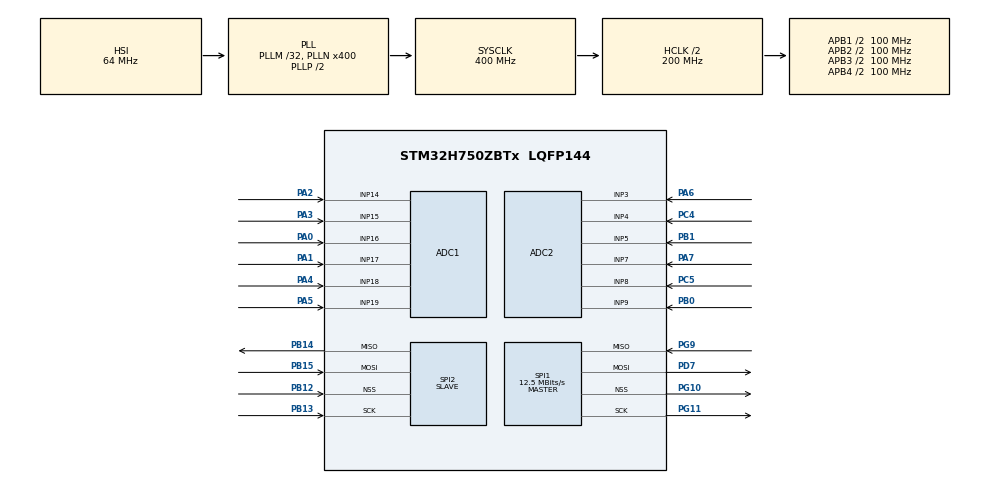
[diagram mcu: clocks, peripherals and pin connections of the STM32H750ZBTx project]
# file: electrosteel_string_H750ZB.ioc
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ADC1.Channel-0\#ChannelRegularConversion=ADC_CHANNEL_16
ADC1.Channel-1\#ChannelRegularConversion=ADC_CHANNEL_17
ADC1.Channel-2\#ChannelRegularConversion=ADC_CHANNEL_14
ADC1.Channel-3\#ChannelRegularConversion=ADC_CHANNEL_15
ADC1.Channel-4\#ChannelRegularConversion=ADC_CHANNEL_18
ADC1.Channel-5\#ChannelRegularConversion=ADC_CHANNEL_19
ADC1.ContinuousConvMode=DISABLE
ADC1.EOCSelection=ADC_EOC_SEQ_CONV
ADC1.ExternalTrigConv=ADC_EXTERNALTRIG_HR1_ADCTRG1
ADC1.ExternalTrigConvEdge=ADC_EXTERNALTRIGCONVEDGE_RISING
ADC1.NbrOfConversion=6
ADC1.NbrOfConversionFlag=1
ADC1.OffsetNumber-0\#ChannelRegularConversion=ADC_OFFSET_NONE
ADC1.OffsetNumber-1\#ChannelRegularConversion=ADC_OFFSET_NONE
ADC1.OffsetNumber-2\#ChannelRegularConversion=ADC_OFFSET_NONE
ADC1.OffsetNumber-3\#ChannelRegularConversion=ADC_OFFSET_NONE
ADC1.OffsetNumber-4\#ChannelRegularConversion=ADC_OFFSET_NONE
ADC1.OffsetNumber-5\#ChannelRegularConversion=ADC_OFFSET_NONE
ADC1.OffsetSignedSaturation-0\#ChannelRegularConversion=DISABLE
ADC1.OffsetSignedSaturation-1\#ChannelRegularConversion=DISABLE
ADC1.OffsetSignedSaturation-2\#ChannelRegularConversion=DISABLE
ADC1.OffsetSignedSaturation-3\#ChannelRegularConversion=DISABLE
ADC1.OffsetSignedSaturation-4\#ChannelRegularConversion=DISABLE
ADC1.OffsetSignedSaturation-5\#ChannelRegularConversion=DISABLE
ADC1.OversamplingMode=ENABLE
ADC1.OversamplingStopReset=ADC_REGOVERSAMPLING_RESUMED_MODE
ADC1.Rank-0\#ChannelRegularConversion=1
ADC1.Rank-1\#ChannelRegularConversion=2
ADC1.Rank-2\#ChannelRegularConversion=3
ADC1.Rank-3\#ChannelRegularConversion=4
ADC1.Rank-4\#ChannelRegularConversion=5
ADC1.Rank-5\#ChannelRegularConversion=6
ADC1.Ratio=2
ADC1.RightBitShift=ADC_RIGHTBITSHIFT_1
ADC1.SamplingTime-0\#ChannelRegularConversion=ADC_SAMPLETIME_16CYCLES_5
ADC1.SamplingTime-1\#ChannelRegularConversion=ADC_SAMPLETIME_16CYCLES_5
ADC1.SamplingTime-2\#ChannelRegularConversion=ADC_SAMPLETIME_16CYCLES_5
ADC1.SamplingTime-3\#ChannelRegularConversion=ADC_SAMPLETIME_16CYCLES_5
ADC1.SamplingTime-4\#ChannelRegularConversion=ADC_SAMPLETIME_16CYCLES_5
ADC1.SamplingTime-5\#ChannelRegularConversion=ADC_SAMPLETIME_16CYCLES_5
ADC1.TriggeredMode=ADC_TRIGGEREDMODE_MULTI_TRIGGER
ADC1.master=1
ADC2.Channel-0\#ChannelRegularConversion=ADC_CHANNEL_3
ADC2.Channel-1\#ChannelRegularConversion=ADC_CHANNEL_7
ADC2.Channel-2\#ChannelRegularConversion=ADC_CHANNEL_4
ADC2.Channel-3\#ChannelRegularConversion=ADC_CHANNEL_8
ADC2.Channel-4\#ChannelRegularConversion=ADC_CHANNEL_9
ADC2.Channel-5\#ChannelRegularConversion=ADC_CHANNEL_5
ADC2.EOCSelection=ADC_EOC_SEQ_CONV
ADC2.ExternalTrigConv=ADC_EXTERNALTRIG_HR1_ADCTRG1
ADC2.NbrOfConversion=6
ADC2.NbrOfConversionFlag=1
ADC2.OffsetNumber-0\#ChannelRegularConversion=ADC_OFFSET_NONE
ADC2.OffsetNumber-1\#ChannelRegularConversion=ADC_OFFSET_NONE
ADC2.OffsetNumber-2\#ChannelRegularConversion=ADC_OFFSET_NONE
ADC2.OffsetNumber-3\#ChannelRegularConversion=ADC_OFFSET_NONE
ADC2.OffsetNumber-4\#ChannelRegularConversion=ADC_OFFSET_NONE
ADC2.OffsetNumber-5\#ChannelRegularConversion=ADC_OFFSET_NONE
ADC2.OffsetSignedSaturation-0\#ChannelRegularConversion=DISABLE
ADC2.OffsetSignedSaturation-1\#ChannelRegularConversion=DISABLE
ADC2.OffsetSignedSaturation-2\#ChannelRegularConversion=DISABLE
ADC2.OffsetSignedSaturation-3\#ChannelRegularConversion=DISABLE
ADC2.OffsetSignedSaturation-4\#ChannelRegularConversion=DISABLE
ADC2.OffsetSignedSaturation-5\#ChannelRegularConversion=DISABLE
ADC2.OversamplingMode=ENABLE
ADC2.OversamplingStopReset=ADC_REGOVERSAMPLING_RESUMED_MODE
ADC2.Rank-0\#ChannelRegularConversion=1
ADC2.Rank-1\#ChannelRegularConversion=2
ADC2.Rank-2\#ChannelRegularConversion=3
ADC2.Rank-3\#ChannelRegularConversion=4
ADC2.Rank-4\#ChannelRegularConversion=5
ADC2.Rank-5\#ChannelRegularConversion=6
ADC2.Ratio=2
ADC2.RightBitShift=ADC_RIGHTBITSHIFT_1
ADC2.SamplingTime-0\#ChannelRegularConversion=ADC_SAMPLETIME_32CYCLES_5
ADC2.SamplingTime-1\#ChannelRegularConversion=ADC_SAMPLETIME_32CYCLES_5
ADC2.SamplingTime-2\#ChannelRegularConversion=ADC_SAMPLETIME_32CYCLES_5
ADC2.SamplingTime-3\#ChannelRegularConversion=ADC_SAMPLETIME_32CYCLES_5
ADC2.SamplingTime-4\#ChannelRegularConversion=ADC_SAMPLETIME_32CYCLES_5
ADC2.SamplingTime-5\#ChannelRegularConversion=ADC_SAMPLETIME_32CYCLES_5
ADC2.TriggeredMode=ADC_TRIGGEREDMODE_MULTI_TRIGGER
CORTEX_M7.CPU_DCache=Enabled
CORTEX_M7.CPU_ICache=Enabled
Dma.ADC1.0.Direction=DMA_PERIPH_TO_MEMORY
Dma.ADC1.0.EventEnable=DISABLE
Dma.ADC1.0.FIFOMode=DMA_FIFOMODE_ENABLE
Dma.ADC1.0.FIFOThreshold=DMA_FIFO_THRESHOLD_1QUARTERFULL
Dma.ADC1.0.Instance=DMA1_Stream0
Dma.ADC1.0.MemBurst=DMA_MBURST_SINGLE
Dma.ADC1.0.MemDataAlignment=DMA_MDATAALIGN_HALFWORD
Dma.ADC1.0.MemInc=DMA_MINC_ENABLE
Dma.ADC1.0.Mode=DMA_CIRCULAR
Dma.ADC1.0.PeriphBurst=DMA_PBURST_SINGLE
Dma.ADC1.0.PeriphDataAlignment=DMA_PDATAALIGN_HALFWORD
Dma.ADC1.0.PeriphInc=DMA_PINC_DISABLE
Dma.ADC1.0.Polarity=HAL_DMAMUX_REQ_GEN_RISING
Dma.ADC1.0.Priority=DMA_PRIORITY_HIGH
Dma.ADC1.0.RequestNumber=1
Dma.ADC1.0.SignalID=NONE
Dma.ADC1.0.SyncEnable=DISABLE
Dma.ADC1.0.SyncPolarity=HAL_DMAMUX_SYNC_NO_EVENT
Dma.ADC1.0.SyncRequestNumber=1
Dma.ADC1.0.SyncSignalID=NONE
Dma.ADC2.1.Direction=DMA_PERIPH_TO_MEMORY
Dma.ADC2.1.EventEnable=DISABLE
Dma.ADC2.1.FIFOMode=DMA_FIFOMODE_ENABLE
Dma.ADC2.1.FIFOThreshold=DMA_FIFO_THRESHOLD_1QUARTERFULL
Dma.ADC2.1.Instance=DMA1_Stream1
Dma.ADC2.1.MemBurst=DMA_MBURST_SINGLE
Dma.ADC2.1.MemDataAlignment=DMA_MDATAALIGN_HALFWORD
Dma.ADC2.1.MemInc=DMA_MINC_ENABLE
Dma.ADC2.1.Mode=DMA_CIRCULAR
Dma.ADC2.1.PeriphBurst=DMA_PBURST_SINGLE
Dma.ADC2.1.PeriphDataAlignment=DMA_PDATAALIGN_HALFWORD
Dma.ADC2.1.PeriphInc=DMA_PINC_DISABLE
Dma.ADC2.1.Polarity=HAL_DMAMUX_REQ_GEN_RISING
Dma.ADC2.1.Priority=DMA_PRIORITY_HIGH
Dma.ADC2.1.RequestNumber=1
Dma.ADC2.1.SignalID=NONE
Dma.ADC2.1.SyncEnable=DISABLE
Dma.ADC2.1.SyncPolarity=HAL_DMAMUX_SYNC_NO_EVENT
Dma.ADC2.1.SyncRequestNumber=1
Dma.ADC2.1.SyncSignalID=NONE
Dma.Request0=ADC1
Dma.Request1=ADC2
Dma.Request2=SPI2_RX
Dma.Request3=SPI1_TX
Dma.SPI1_TX.3.Direction=DMA_MEMORY_TO_PERIPH
Dma.SPI1_TX.3.EventEnable=DISABLE
Dma.SPI1_TX.3.FIFOMode=DMA_FIFOMODE_ENABLE
Dma.SPI1_TX.3.FIFOThreshold=DMA_FIFO_THRESHOLD_1QUARTERFULL
Dma.SPI1_TX.3.Instance=DMA1_Stream3
Dma.SPI1_TX.3.MemBurst=DMA_MBURST_SINGLE
Dma.SPI1_TX.3.MemDataAlignment=DMA_MDATAALIGN_BYTE
Dma.SPI1_TX.3.MemInc=DMA_MINC_ENABLE
Dma.SPI1_TX.3.Mode=DMA_NORMAL
Dma.SPI1_TX.3.PeriphBurst=DMA_PBURST_SINGLE
Dma.SPI1_TX.3.PeriphDataAlignment=DMA_PDATAALIGN_BYTE
Dma.SPI1_TX.3.PeriphInc=DMA_PINC_DISABLE
Dma.SPI1_TX.3.Polarity=HAL_DMAMUX_REQ_GEN_RISING
Dma.SPI1_TX.3.Priority=DMA_PRIORITY_HIGH
Dma.SPI1_TX.3.RequestNumber=1
Dma.SPI1_TX.3.SignalID=NONE
Dma.SPI1_TX.3.SyncEnable=DISABLE
Dma.SPI1_TX.3.SyncPolarity=HAL_DMAMUX_SYNC_NO_EVENT
Dma.SPI1_TX.3.SyncRequestNumber=1
Dma.SPI1_TX.3.SyncSignalID=NONE
Dma.SPI2_RX.2.Direction=DMA_PERIPH_TO_MEMORY
Dma.SPI2_RX.2.EventEnable=DISABLE
Dma.SPI2_RX.2.FIFOMode=DMA_FIFOMODE_ENABLE
Dma.SPI2_RX.2.FIFOThreshold=DMA_FIFO_THRESHOLD_1QUARTERFULL
Dma.SPI2_RX.2.Instance=DMA1_Stream2
Dma.SPI2_RX.2.MemBurst=DMA_MBURST_SINGLE
Dma.SPI2_RX.2.MemDataAlignment=DMA_MDATAALIGN_BYTE
Dma.SPI2_RX.2.MemInc=DMA_MINC_ENABLE
Dma.SPI2_RX.2.Mode=DMA_CIRCULAR
Dma.SPI2_RX.2.PeriphBurst=DMA_PBURST_SINGLE
Dma.SPI2_RX.2.PeriphDataAlignment=DMA_PDATAALIGN_BYTE
Dma.SPI2_RX.2.PeriphInc=DMA_PINC_DISABLE
Dma.SPI2_RX.2.Polarity=HAL_DMAMUX_REQ_GEN_RISING
Dma.SPI2_RX.2.Priority=DMA_PRIORITY_MEDIUM
Dma.SPI2_RX.2.RequestNumber=1
Dma.SPI2_RX.2.SignalID=NONE
Dma.SPI2_RX.2.SyncEnable=DISABLE
Dma.SPI2_RX.2.SyncPolarity=HAL_DMAMUX_SYNC_NO_EVENT
Dma.SPI2_RX.2.SyncRequestNumber=1
Dma.SPI2_RX.2.SyncSignalID=NONE
HRTIM.ADCTrigger_Id1=HRTIM_ADCTRIGGER_1
HRTIM.Configuration_TA=Simple
HRTIM.Event_EEV1=__NULL
HRTIM.Periode_TA=347
Mcu.Family=STM32H7
Mcu.Name=STM32H750ZBTx
Mcu.Package=LQFP144
NVIC.DMA1_Stream0_IRQn=true\:0\:0\:false\:false\:true\:false\:true
NVIC.DMA1_Stream1_IRQn=true\:0\:0\:false\:false\:true\:false\:true
NVIC.DMA1_Stream2_IRQn=true\:0\:0\:false\:false\:true\:false\:true
NVIC.DMA1_Stream3_IRQn=true\:0\:0\:false\:false\:true\:false\:true
NVIC.PriorityGroup=NVIC_PRIORITYGROUP_4
NVIC.SPI1_IRQn=true\:0\:0\:false\:false\:true\:false\:true
NVIC.SPI2_IRQn=true\:0\:0\:false\:false\:true\:false\:true
PA0.Mode=IN16-Single-Ended
PA0.Signal=ADC1_INP16
PA1.Mode=IN17-Single-Ended
PA1.Signal=ADC1_INP17
PA2.Signal=ADCx_INP14
PA3.Signal=ADCx_INP15
PA4.Signal=ADCx_INP18
PA5.Signal=ADCx_INP19
PA6.Signal=ADCx_INP3
PA7.Signal=ADCx_INP7
PB0.Signal=ADCx_INP9
PB1.Signal=ADCx_INP5
PB12.GPIO_Speed=GPIO_SPEED_FREQ_HIGH
PB12.Mode=NSS_Signal_Hard_Input
PB12.Signal=SPI2_NSS
PB13.GPIO_Speed=GPIO_SPEED_FREQ_HIGH
PB13.Mode=Full_Duplex_Slave
PB13.Signal=SPI2_SCK
PB14.GPIO_Speed=GPIO_SPEED_FREQ_HIGH
PB14.Mode=Full_Duplex_Slave
PB14.Signal=SPI2_MISO
PB15.GPIO_Speed=GPIO_SPEED_FREQ_HIGH
PB15.Mode=Full_Duplex_Slave
PB15.Signal=SPI2_MOSI
PC4.Signal=ADCx_INP4
PC5.Signal=ADCx_INP8
PD11.Signal=GPXTI11
PD7.GPIO_Speed=GPIO_SPEED_FREQ_HIGH
PD7.Mode=Full_Duplex_Master
PD7.Signal=SPI1_MOSI
PG10.GPIO_Speed=GPIO_SPEED_FREQ_HIGH
PG10.Mode=NSS_Signal_Hard_Output
PG10.Signal=SPI1_NSS
PG11.GPIO_Speed=GPIO_SPEED_FREQ_HIGH
PG11.Mode=Full_Duplex_Master
PG11.Signal=SPI1_SCK
PG9.GPIO_Speed=GPIO_SPEED_FREQ_HIGH
PG9.Mode=Full_Duplex_Master
PG9.Signal=SPI1_MISO
PH0-OSC_IN\ (PH0).Mode=HSE-External-Oscillator
PH0-OSC_IN\ (PH0).Signal=RCC_OSC_IN
PH1-OSC_OUT\ (PH1).Mode=HSE-External-Oscillator
PH1-OSC_OUT\ (PH1).Signal=RCC_OSC_OUT
ProjectManager.HeapSize=0x200
ProjectManager.StackSize=0x400
ProjectManager.TargetToolchain=STM32CubeIDE
RCC.ADCFreq_Value=36000000
RCC.APB1Freq_Value=100000000
RCC.APB2Freq_Value=100000000
RCC.APB3Freq_Value=100000000
RCC.APB4Freq_Value=100000000
RCC.CortexFreq_Value=400000000
RCC.D1PPRE=RCC_APB3_DIV2
RCC.D2PPRE1=RCC_APB1_DIV2
RCC.D2PPRE2=RCC_APB2_DIV2
RCC.D3PPRE=RCC_APB4_DIV2
RCC.DIVN1=400
RCC.DIVN2=216
RCC.DIVP2=12
RCC.HCLKFreq_Value=200000000
RCC.HPRE=RCC_HCLK_DIV2
RCC.HRTIMCLockSelection=RCC_HRTIM1CLK_CPUCLK
RCC.SAI1CLockSelection=RCC_SAI1CLKSOURCE_PLL3
RCC.SYSCLKFreq_VALUE=400000000
RCC.SYSCLKSource=RCC_SYSCLKSOURCE_PLLCLK
RCC.USBFreq_Value=400000000
SH.ADCx_INP14.0=ADC1_INP14,IN14-Single-Ended
SH.ADCx_INP15.0=ADC1_INP15,IN15-Single-Ended
SH.ADCx_INP18.0=ADC1_INP18,IN18-Single-Ended
SH.ADCx_INP19.0=ADC1_INP19,IN19-Single-Ended
SH.ADCx_INP3.0=ADC1_INP3
SH.ADCx_INP3.1=ADC2_INP3,IN3-Single-Ended
SH.ADCx_INP4.0=ADC1_INP4
SH.ADCx_INP4.1=ADC2_INP4,IN4-Single-Ended
SH.ADCx_INP5.0=ADC1_INP5
SH.ADCx_INP5.1=ADC2_INP5,IN5-Single-Ended
SH.ADCx_INP7.0=ADC1_INP7
SH.ADCx_INP7.1=ADC2_INP7,IN7-Single-Ended
SH.ADCx_INP8.0=ADC1_INP8
SH.ADCx_INP8.1=ADC2_INP8,IN8-Single-Ended
SH.ADCx_INP9.0=ADC1_INP9
SH.ADCx_INP9.1=ADC2_INP9,IN9-Single-Ended
SPI1.BaudRatePrescaler=SPI_BAUDRATEPRESCALER_32
SPI1.CalculateBaudRate=12.5 MBits/s
SPI1.DataSize=SPI_DATASIZE_8BIT
SPI1.Direction=SPI_DIRECTION_2LINES
SPI1.Mode=SPI_MODE_MASTER
SPI1.VirtualNSS=VM_NSSHARD
SPI1.VirtualType=VM_MASTER
SPI2.DataSize=SPI_DATASIZE_8BIT
SPI2.Direction=SPI_DIRECTION_2LINES
SPI2.Mode=SPI_MODE_SLAVE
SPI2.VirtualNSS=VM_NSSHARD
SPI2.VirtualType=VM_SLAVE
VP_HRTIM_VS_hrtimTimerANoOutput.Mode=No_output_TA
VP_RNG_VS_RNG.Mode=RNG_Activate
board=custom

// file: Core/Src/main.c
/* USER CODE BEGIN Header */
/**
  ******************************************************************************
  * @file           : main.c
  * @brief          : Main program body
  ******************************************************************************
  * @attention
  *
  * <h2><center>&copy; Copyright (c) 2020 STMicroelectronics.
  * All rights reserved.</center></h2>
  *
  * This software component is licensed by ST under BSD 3-Clause license,
  * the "License"; You may not use this file except in compliance with the
  * License. You may obtain a copy of the License at:
  *                        opensource.org/licenses/BSD-3-Clause
  *
  ******************************************************************************
  */
/* USER CODE END Header */
#include "main.h"

/* USER CODE BEGIN Includes */
#include "leaf.h"
/* USER CODE END Includes */

/* USER CODE BEGIN PTD */
#define SAMPLE_RATE 48000
/* USER CODE END PTD */

ADC_HandleTypeDef hadc1;
ADC_HandleTypeDef hadc2;
DMA_HandleTypeDef hdma_adc1;
DMA_HandleTypeDef hdma_adc2;

HRTIM_HandleTypeDef hhrtim;

RNG_HandleTypeDef hrng;

SPI_HandleTypeDef hspi1;
SPI_HandleTypeDef hspi2;
DMA_HandleTypeDef hdma_spi1_tx;
DMA_HandleTypeDef hdma_spi2_rx;

/* USER CODE BEGIN PV */
uint8_t SPI_TX[32] __ATTR_RAM_D2;
uint8_t SPI_RX[32] __ATTR_RAM_D2;

uint8_t SPI_PLUCK_TX[20] __ATTR_RAM_D2;

uint8_t counter;

int32_t audioOutBuffer[AUDIO_BUFFER_SIZE] __ATTR_RAM_D2;
int32_t audioInBuffer[AUDIO_BUFFER_SIZE] __ATTR_RAM_D2;
int32_t ADC_values[NUM_ADC_CHANNELS * ADC_BUFFER_SIZE] __ATTR_RAM_D2;

#define FILTER_ORDER 2
#define ATODB_TABLE_SIZE 25000
#define ATODB_TABLE_SIZE_MINUS_ONE 24999

#define MEDIUM_MEM_SIZE 300000
char mediumMemory[MEDIUM_MEM_SIZE] __ATTR_RAM_D1;

LEAF leaf;
tMempool mediumPool;

float atodbTable[ATODB_TABLE_SIZE];
//tPluckDetectorInt myPluck[NUM_ADC_CHANNELS];
tHighpass opticalHighpass[NUM_ADC_CHANNELS][FILTER_ORDER];
tVZFilter opticalLowpass[NUM_ADC_CHANNELS][FILTER_ORDER];
tSlide fastSlide[NUM_ADC_CHANNELS];
tSlide slowSlide[NUM_ADC_CHANNELS];
tThreshold threshold[NUM_ADC_CHANNELS];
/* USER CODE END PV */

void SystemClock_Config(void);
static void MX_GPIO_Init(void);
static void MX_DMA_Init(void);
static void MX_ADC1_Init(void);
static void MX_ADC2_Init(void);
static void MX_HRTIM_Init(void);
static void MX_SPI1_Init(void);
static void MX_SPI2_Init(void);
static void MX_RNG_Init(void);
/* USER CODE BEGIN PFP */
void MPU_Conf(void);
float randomNumber(void);
/* USER CODE END PFP */

int main(void)
{

  /* Enable I-Cache---------------------------------------------------------*/
  SCB_EnableICache();

  /* Enable D-Cache---------------------------------------------------------*/
  SCB_EnableDCache();

  /* MCU Configuration--------------------------------------------------------*/

  /* Reset of all peripherals, Initializes the Flash interface and the Systick. */
  HAL_Init();

  /* Configure the system clock */
  SystemClock_Config();

  /* Initialize all configured peripherals */
  MX_GPIO_Init();
  MX_DMA_Init();
  MX_ADC1_Init();
  MX_ADC2_Init();
  MX_HRTIM_Init();
  MX_SPI1_Init();
  MX_SPI2_Init();
  MX_RNG_Init();
  /* USER CODE BEGIN 2 */
  uint32_t tempFPURegisterVal = __get_FPSCR();
  tempFPURegisterVal |= (1<<24); // set the FTZ (flush-to-zero) bit in the FPU control register
  __set_FPSCR(tempFPURegisterVal);

  for (int i = 0; i < 16; i++)
  {
	  SPI_TX[i] = counter++;
  }

  for (int i = 0; i < 20; i++)
  {
	  SPI_PLUCK_TX[i] = 0;
  }

  HAL_SPI_Receive_DMA(&hspi2, SPI_RX, 32);

  HAL_GPIO_WritePin(GPIOC, GPIO_PIN_6, GPIO_PIN_SET);
  HAL_Delay(10);

  LEAF_init(&leaf, SAMPLE_RATE, AUDIO_FRAME_SIZE, mediumMemory, MEDIUM_MEM_SIZE, &randomNumber);

  for (int i = 0; i < NUM_ADC_CHANNELS; i++)
  {
  	tThreshold_init(&threshold[i],120.0f, 220.0f, &leaf);
  	tSlide_init(&fastSlide[i],1.0f,500.0f, &leaf); //1110
  	tSlide_init(&slowSlide[i],1.0f,500.0f, &leaf); //1110

  	for (int j = 0; j < FILTER_ORDER; j++)
  	{
  		tVZFilter_init(&opticalLowpass[i][j], Lowpass, 2000.0f, 0.6f, &leaf);
  		tHighpass_init(&opticalHighpass[i][j], 80.0f, &leaf);
  	}
  }

  LEAF_generate_atodb(atodbTable, ATODB_TABLE_SIZE);

  HAL_ADC_Start_DMA(&hadc1,(uint32_t*)&ADC_values,NUM_ADC_CHANNELS * ADC_BUFFER_SIZE);
  /* USER CODE END 2 */

  /* Infinite loop */
  while (1)
  {

  }
}

void SystemClock_Config(void)
{
  RCC_OscInitTypeDef RCC_OscInitStruct = {0};
  RCC_ClkInitTypeDef RCC_ClkInitStruct = {0};
  RCC_PeriphCLKInitTypeDef PeriphClkInitStruct = {0};

  /** Supply configuration update enable
  */
  HAL_PWREx_ConfigSupply(PWR_LDO_SUPPLY);
  /** Configure the main internal regulator output voltage
  */
  __HAL_PWR_VOLTAGESCALING_CONFIG(PWR_REGULATOR_VOLTAGE_SCALE1);

  while(!__HAL_PWR_GET_FLAG(PWR_FLAG_VOSRDY)) {}
  /** Macro to configure the PLL clock source
  */
  __HAL_RCC_PLL_PLLSOURCE_CONFIG(RCC_PLLSOURCE_HSI);
  /** Initializes the RCC Oscillators according to the specified parameters
  * in the RCC_OscInitTypeDef structure.
  */
  RCC_OscInitStruct.OscillatorType = RCC_OSCILLATORTYPE_HSI48|RCC_OSCILLATORTYPE_HSI;
  RCC_OscInitStruct.HSIState = RCC_HSI_DIV1;
  RCC_OscInitStruct.HSICalibrationValue = RCC_HSICALIBRATION_DEFAULT;
  RCC_OscInitStruct.HSI48State = RCC_HSI48_ON;
  RCC_OscInitStruct.PLL.PLLState = RCC_PLL_ON;
  RCC_OscInitStruct.PLL.PLLSource = RCC_PLLSOURCE_HSI;
  RCC_OscInitStruct.PLL.PLLM = 32;
  RCC_OscInitStruct.PLL.PLLN = 400;
  RCC_OscInitStruct.PLL.PLLP = 2;
  RCC_OscInitStruct.PLL.PLLQ = 2;
  RCC_OscInitStruct.PLL.PLLR = 2;
  RCC_OscInitStruct.PLL.PLLRGE = RCC_PLL1VCIRANGE_1;
  RCC_OscInitStruct.PLL.PLLVCOSEL = RCC_PLL1VCOWIDE;
  RCC_OscInitStruct.PLL.PLLFRACN = 0;
  if (HAL_RCC_OscConfig(&RCC_OscInitStruct) != HAL_OK)
  {
    Error_Handler();
  }
  /** Initializes the CPU, AHB and APB buses clocks
  */
  RCC_ClkInitStruct.ClockType = RCC_CLOCKTYPE_HCLK|RCC_CLOCKTYPE_SYSCLK
                              |RCC_CLOCKTYPE_PCLK1|RCC_CLOCKTYPE_PCLK2
                              |RCC_CLOCKTYPE_D3PCLK1|RCC_CLOCKTYPE_D1PCLK1;
  RCC_ClkInitStruct.SYSCLKSource = RCC_SYSCLKSOURCE_PLLCLK;
  RCC_ClkInitStruct.SYSCLKDivider = RCC_SYSCLK_DIV1;
  RCC_ClkInitStruct.AHBCLKDivider = RCC_HCLK_DIV2;
  RCC_ClkInitStruct.APB3CLKDivider = RCC_APB3_DIV2;
  RCC_ClkInitStruct.APB1CLKDivider = RCC_APB1_DIV2;
  RCC_ClkInitStruct.APB2CLKDivider = RCC_APB2_DIV2;
  RCC_ClkInitStruct.APB4CLKDivider = RCC_APB4_DIV2;

  if (HAL_RCC_ClockConfig(&RCC_ClkInitStruct, FLASH_LATENCY_2) != HAL_OK)
  {
    Error_Handler();
  }
  PeriphClkInitStruct.PeriphClockSelection = RCC_PERIPHCLK_HRTIM1|RCC_PERIPHCLK_RNG
                              |RCC_PERIPHCLK_SPI1|RCC_PERIPHCLK_SPI2
                              |RCC_PERIPHCLK_ADC;
  PeriphClkInitStruct.PLL2.PLL2M = 32;
  PeriphClkInitStruct.PLL2.PLL2N = 216;
  PeriphClkInitStruct.PLL2.PLL2P = 12;
  PeriphClkInitStruct.PLL2.PLL2Q = 2;
  PeriphClkInitStruct.PLL2.PLL2R = 2;
  PeriphClkInitStruct.PLL2.PLL2RGE = RCC_PLL2VCIRANGE_1;
  PeriphClkInitStruct.PLL2.PLL2VCOSEL = RCC_PLL2VCOWIDE;
  PeriphClkInitStruct.PLL2.PLL2FRACN = 0;
  PeriphClkInitStruct.Spi123ClockSelection = RCC_SPI123CLKSOURCE_PLL;
  PeriphClkInitStruct.RngClockSelection = RCC_RNGCLKSOURCE_HSI48;
  PeriphClkInitStruct.AdcClockSelection = RCC_ADCCLKSOURCE_PLL2;
  PeriphClkInitStruct.Hrtim1ClockSelection = RCC_HRTIM1CLK_CPUCLK;
  if (HAL_RCCEx_PeriphCLKConfig(&PeriphClkInitStruct) != HAL_OK)
  {
    Error_Handler();
  }
}

static void MX_ADC1_Init(void)
{

  ADC_MultiModeTypeDef multimode = {0};
  ADC_ChannelConfTypeDef sConfig = {0};

  /** Common config
  */
  hadc1.Instance = ADC1;
  hadc1.Init.ClockPrescaler = ADC_CLOCK_ASYNC_DIV1;
  hadc1.Init.Resolution = ADC_RESOLUTION_16B;
  hadc1.Init.ScanConvMode = ADC_SCAN_ENABLE;
  hadc1.Init.EOCSelection = ADC_EOC_SEQ_CONV;
  hadc1.Init.LowPowerAutoWait = DISABLE;
  hadc1.Init.ContinuousConvMode = DISABLE;
  hadc1.Init.NbrOfConversion = 6;
  hadc1.Init.DiscontinuousConvMode = DISABLE;
  hadc1.Init.ExternalTrigConv = ADC_EXTERNALTRIG_HR1_ADCTRG1;
  hadc1.Init.ExternalTrigConvEdge = ADC_EXTERNALTRIGCONVEDGE_RISING;
  hadc1.Init.ConversionDataManagement = ADC_CONVERSIONDATA_DR;
  hadc1.Init.Overrun = ADC_OVR_DATA_PRESERVED;
  hadc1.Init.LeftBitShift = ADC_LEFTBITSHIFT_NONE;
  hadc1.Init.OversamplingMode = ENABLE;
  hadc1.Init.Oversampling.Ratio = 2;
  hadc1.Init.Oversampling.RightBitShift = ADC_RIGHTBITSHIFT_1;
  hadc1.Init.Oversampling.TriggeredMode = ADC_TRIGGEREDMODE_MULTI_TRIGGER;
  hadc1.Init.Oversampling.OversamplingStopReset = ADC_REGOVERSAMPLING_RESUMED_MODE;
  if (HAL_ADC_Init(&hadc1) != HAL_OK)
  {
    Error_Handler();
  }
  /** Configure the ADC multi-mode
  */
  multimode.Mode = ADC_MODE_INDEPENDENT;
  if (HAL_ADCEx_MultiModeConfigChannel(&hadc1, &multimode) != HAL_OK)
  {
    Error_Handler();
  }
  /** Configure Regular Channel
  */
  sConfig.Channel = ADC_CHANNEL_16;
  sConfig.Rank = ADC_REGULAR_RANK_1;
  sConfig.SamplingTime = ADC_SAMPLETIME_16CYCLES_5;
  sConfig.SingleDiff = ADC_SINGLE_ENDED;
  sConfig.OffsetNumber = ADC_OFFSET_NONE;
  sConfig.Offset = 0;
  sConfig.OffsetSignedSaturation = DISABLE;
  if (HAL_ADC_ConfigChannel(&hadc1, &sConfig) != HAL_OK)
  {
    Error_Handler();
  }
  /** Configure Regular Channel
  */
  sConfig.Channel = ADC_CHANNEL_17;
  sConfig.Rank = ADC_REGULAR_RANK_2;
  if (HAL_ADC_ConfigChannel(&hadc1, &sConfig) != HAL_OK)
  {
    Error_Handler();
  }
  /** Configure Regular Channel
  */
  sConfig.Channel = ADC_CHANNEL_14;
  sConfig.Rank = ADC_REGULAR_RANK_3;
  if (HAL_ADC_ConfigChannel(&hadc1, &sConfig) != HAL_OK)
  {
    Error_Handler();
  }
  /** Configure Regular Channel
  */
  sConfig.Channel = ADC_CHANNEL_15;
  sConfig.Rank = ADC_REGULAR_RANK_4;
  if (HAL_ADC_ConfigChannel(&hadc1, &sConfig) != HAL_OK)
  {
    Error_Handler();
  }
  /** Configure Regular Channel
  */
  sConfig.Channel = ADC_CHANNEL_18;
  sConfig.Rank = ADC_REGULAR_RANK_5;
  if (HAL_ADC_ConfigChannel(&hadc1, &sConfig) != HAL_OK)
  {
    Error_Handler();
  }
  /** Configure Regular Channel
  */
  sConfig.Channel = ADC_CHANNEL_19;
  sConfig.Rank = ADC_REGULAR_RANK_6;
  if (HAL_ADC_ConfigChannel(&hadc1, &sConfig) != HAL_OK)
  {
    Error_Handler();
  }

}

static void MX_ADC2_Init(void)
{

  ADC_ChannelConfTypeDef sConfig = {0};

  /** Common config
  */
  hadc2.Instance = ADC2;
  hadc2.Init.ClockPrescaler = ADC_CLOCK_ASYNC_DIV1;
  hadc2.Init.Resolution = ADC_RESOLUTION_16B;
  hadc2.Init.ScanConvMode = ADC_SCAN_ENABLE;
  hadc2.Init.EOCSelection = ADC_EOC_SEQ_CONV;
  hadc2.Init.LowPowerAutoWait = DISABLE;
  hadc2.Init.ContinuousConvMode = DISABLE;
  hadc2.Init.NbrOfConversion = 6;
  hadc2.Init.DiscontinuousConvMode = DISABLE;
  hadc2.Init.ExternalTrigConv = ADC_EXTERNALTRIG_HR1_ADCTRG1;
  hadc2.Init.ExternalTrigConvEdge = ADC_EXTERNALTRIGCONVEDGE_RISING;
  hadc2.Init.ConversionDataManagement = ADC_CONVERSIONDATA_DR;
  hadc2.Init.Overrun = ADC_OVR_DATA_PRESERVED;
  hadc2.Init.LeftBitShift = ADC_LEFTBITSHIFT_NONE;
  hadc2.Init.OversamplingMode = ENABLE;
  hadc2.Init.Oversampling.Ratio = 2;
  hadc2.Init.Oversampling.RightBitShift = ADC_RIGHTBITSHIFT_1;
  hadc2.Init.Oversampling.TriggeredMode = ADC_TRIGGEREDMODE_MULTI_TRIGGER;
  hadc2.Init.Oversampling.OversamplingStopReset = ADC_REGOVERSAMPLING_RESUMED_MODE;
  if (HAL_ADC_Init(&hadc2) != HAL_OK)
  {
    Error_Handler();
  }
  /** Configure Regular Channel
  */
  sConfig.Channel = ADC_CHANNEL_3;
  sConfig.Rank = ADC_REGULAR_RANK_1;
  sConfig.SamplingTime = ADC_SAMPLETIME_32CYCLES_5;
  sConfig.SingleDiff = ADC_SINGLE_ENDED;
  sConfig.OffsetNumber = ADC_OFFSET_NONE;
  sConfig.Offset = 0;
  sConfig.OffsetSignedSaturation = DISABLE;
  if (HAL_ADC_ConfigChannel(&hadc2, &sConfig) != HAL_OK)
  {
    Error_Handler();
  }
  /** Configure Regular Channel
  */
  sConfig.Channel = ADC_CHANNEL_7;
  sConfig.Rank = ADC_REGULAR_RANK_2;
  if (HAL_ADC_ConfigChannel(&hadc2, &sConfig) != HAL_OK)
  {
    Error_Handler();
  }
  /** Configure Regular Channel
  */
  sConfig.Channel = ADC_CHANNEL_4;
  sConfig.Rank = ADC_REGULAR_RANK_3;
  if (HAL_ADC_ConfigChannel(&hadc2, &sConfig) != HAL_OK)
  {
    Error_Handler();
  }
  /** Configure Regular Channel
  */
  sConfig.Channel = ADC_CHANNEL_8;
  sConfig.Rank = ADC_REGULAR_RANK_4;
  if (HAL_ADC_ConfigChannel(&hadc2, &sConfig) != HAL_OK)
  {
    Error_Handler();
  }
  /** Configure Regular Channel
  */
  sConfig.Channel = ADC_CHANNEL_9;
  sConfig.Rank = ADC_REGULAR_RANK_5;
  if (HAL_ADC_ConfigChannel(&hadc2, &sConfig) != HAL_OK)
  {
    Error_Handler();
  }
  /** Configure Regular Channel
  */
  sConfig.Channel = ADC_CHANNEL_5;
  sConfig.Rank = ADC_REGULAR_RANK_6;
  if (HAL_ADC_ConfigChannel(&hadc2, &sConfig) != HAL_OK)
  {
    Error_Handler();
  }

}

static void MX_HRTIM_Init(void)
{

  HRTIM_ADCTriggerCfgTypeDef pADCTriggerCfg = {0};
  HRTIM_TimeBaseCfgTypeDef pTimeBaseCfg = {0};

  hhrtim.Instance = HRTIM1;
  hhrtim.Init.HRTIMInterruptResquests = HRTIM_IT_NONE;
  hhrtim.Init.SyncOptions = HRTIM_SYNCOPTION_NONE;
  if (HAL_HRTIM_Init(&hhrtim) != HAL_OK)
  {
    Error_Handler();
  }
  pADCTriggerCfg.UpdateSource = HRTIM_ADCTRIGGERUPDATE_TIMER_A;
  pADCTriggerCfg.Trigger = HRTIM_ADCTRIGGEREVENT13_NONE;
  if (HAL_HRTIM_ADCTriggerConfig(&hhrtim, HRTIM_ADCTRIGGER_1, &pADCTriggerCfg) != HAL_OK)
  {
    Error_Handler();
  }
  pTimeBaseCfg.Period = 347;
  pTimeBaseCfg.RepetitionCounter = 0x00;
  pTimeBaseCfg.PrescalerRatio = HRTIM_PRESCALERRATIO_DIV1;
  pTimeBaseCfg.Mode = HRTIM_MODE_CONTINUOUS;
  if (HAL_HRTIM_TimeBaseConfig(&hhrtim, HRTIM_TIMERINDEX_TIMER_A, &pTimeBaseCfg) != HAL_OK)
  {
    Error_Handler();
  }

}

static void MX_RNG_Init(void)
{

  hrng.Instance = RNG;
  hrng.Init.ClockErrorDetection = RNG_CED_ENABLE;
  if (HAL_RNG_Init(&hrng) != HAL_OK)
  {
    Error_Handler();
  }

}

static void MX_SPI1_Init(void)
{

  /* SPI1 parameter configuration*/
  hspi1.Instance = SPI1;
  hspi1.Init.Mode = SPI_MODE_MASTER;
  hspi1.Init.Direction = SPI_DIRECTION_2LINES;
  hspi1.Init.DataSize = SPI_DATASIZE_8BIT;
  hspi1.Init.CLKPolarity = SPI_POLARITY_LOW;
  hspi1.Init.CLKPhase = SPI_PHASE_1EDGE;
  hspi1.Init.NSS = SPI_NSS_HARD_OUTPUT;
  hspi1.Init.BaudRatePrescaler = SPI_BAUDRATEPRESCALER_32;
  hspi1.Init.FirstBit = SPI_FIRSTBIT_MSB;
  hspi1.Init.TIMode = SPI_TIMODE_DISABLE;
  hspi1.Init.CRCCalculation = SPI_CRCCALCULATION_DISABLE;
  hspi1.Init.CRCPolynomial = 0x0;
  hspi1.Init.NSSPMode = SPI_NSS_PULSE_ENABLE;
  hspi1.Init.NSSPolarity = SPI_NSS_POLARITY_LOW;
  hspi1.Init.FifoThreshold = SPI_FIFO_THRESHOLD_01DATA;
  hspi1.Init.TxCRCInitializationPattern = SPI_CRC_INITIALIZATION_ALL_ZERO_PATTERN;
  hspi1.Init.RxCRCInitializationPattern = SPI_CRC_INITIALIZATION_ALL_ZERO_PATTERN;
  hspi1.Init.MasterSSIdleness = SPI_MASTER_SS_IDLENESS_00CYCLE;
  hspi1.Init.MasterInterDataIdleness = SPI_MASTER_INTERDATA_IDLENESS_00CYCLE;
  hspi1.Init.MasterReceiverAutoSusp = SPI_MASTER_RX_AUTOSUSP_DISABLE;
  hspi1.Init.MasterKeepIOState = SPI_MASTER_KEEP_IO_STATE_DISABLE;
  hspi1.Init.IOSwap = SPI_IO_SWAP_DISABLE;
  if (HAL_SPI_Init(&hspi1) != HAL_OK)
  {
    Error_Handler();
  }

}

static void MX_SPI2_Init(void)
{

  /* SPI2 parameter configuration*/
  hspi2.Instance = SPI2;
  hspi2.Init.Mode = SPI_MODE_SLAVE;
  hspi2.Init.Direction = SPI_DIRECTION_2LINES;
  hspi2.Init.DataSize = SPI_DATASIZE_8BIT;
  hspi2.Init.CLKPolarity = SPI_POLARITY_LOW;
  hspi2.Init.CLKPhase = SPI_PHASE_1EDGE;
  hspi2.Init.NSS = SPI_NSS_HARD_INPUT;
  hspi2.Init.FirstBit = SPI_FIRSTBIT_MSB;
  hspi2.Init.TIMode = SPI_TIMODE_DISABLE;
  hspi2.Init.CRCCalculation = SPI_CRCCALCULATION_DISABLE;
  hspi2.Init.CRCPolynomial = 0x0;
  hspi2.Init.NSSPMode = SPI_NSS_PULSE_DISABLE;
  hspi2.Init.NSSPolarity = SPI_NSS_POLARITY_LOW;
  hspi2.Init.FifoThreshold = SPI_FIFO_THRESHOLD_01DATA;
  hspi2.Init.TxCRCInitializationPattern = SPI_CRC_INITIALIZATION_ALL_ZERO_PATTERN;
  hspi2.Init.RxCRCInitializationPattern = SPI_CRC_INITIALIZATION_ALL_ZERO_PATTERN;
  hspi2.Init.MasterSSIdleness = SPI_MASTER_SS_IDLENESS_00CYCLE;
  hspi2.Init.MasterInterDataIdleness = SPI_MASTER_INTERDATA_IDLENESS_00CYCLE;
  hspi2.Init.MasterReceiverAutoSusp = SPI_MASTER_RX_AUTOSUSP_DISABLE;
  hspi2.Init.MasterKeepIOState = SPI_MASTER_KEEP_IO_STATE_DISABLE;
  hspi2.Init.IOSwap = SPI_IO_SWAP_DISABLE;
  if (HAL_SPI_Init(&hspi2) != HAL_OK)
  {
    Error_Handler();
  }

}

static void MX_DMA_Init(void)
{

  /* DMA controller clock enable */
  __HAL_RCC_DMA1_CLK_ENABLE();

  /* DMA interrupt init */
  /* DMA1_Stream0_IRQn interrupt configuration */
  HAL_NVIC_SetPriority(DMA1_Stream0_IRQn, 0, 0);
  HAL_NVIC_EnableIRQ(DMA1_Stream0_IRQn);
  /* DMA1_Stream1_IRQn interrupt configuration */
  HAL_NVIC_SetPriority(DMA1_Stream1_IRQn, 0, 0);
  HAL_NVIC_EnableIRQ(DMA1_Stream1_IRQn);
  /* DMA1_Stream2_IRQn interrupt configuration */
  HAL_NVIC_SetPriority(DMA1_Stream2_IRQn, 0, 0);
  HAL_NVIC_EnableIRQ(DMA1_Stream2_IRQn);
  /* DMA1_Stream3_IRQn interrupt configuration */
  HAL_NVIC_SetPriority(DMA1_Stream3_IRQn, 0, 0);
  HAL_NVIC_EnableIRQ(DMA1_Stream3_IRQn);

}

static void MX_GPIO_Init(void)
{
  GPIO_InitTypeDef GPIO_InitStruct = {0};

  /* GPIO Ports Clock Enable */
  __HAL_RCC_GPIOH_CLK_ENABLE();
  __HAL_RCC_GPIOA_CLK_ENABLE();
  __HAL_RCC_GPIOC_CLK_ENABLE();
  __HAL_RCC_GPIOB_CLK_ENABLE();
  __HAL_RCC_GPIOD_CLK_ENABLE();
  __HAL_RCC_GPIOG_CLK_ENABLE();

  /*Configure GPIO pin : PD11 */
  GPIO_InitStruct.Pin = GPIO_PIN_11;
  GPIO_InitStruct.Mode = GPIO_MODE_IT_RISING;
  GPIO_InitStruct.Pull = GPIO_NOPULL;
  HAL_GPIO_Init(GPIOD, &GPIO_InitStruct);

}

/* USER CODE BEGIN 4 */
float randomNumber(void) {

	uint32_t rand;
	HAL_RNG_GenerateRandomNumber(&hrng, &rand);
	float num = (float)rand * INV_TWO_TO_32;
	return num;
}

void MPU_Conf(void)
{
	//code from Keshikan https://github.com/keshikan/STM32H7_DMA_sample
  //Thanks, Keshikan! This solves the issues with accessing the SRAM in the D2 area properly. -JS
	//should test the different possible settings to see what works best while avoiding needing to manually clear the cache -JS

	MPU_Region_InitTypeDef MPU_InitStruct;

	  HAL_MPU_Disable();

	  MPU_InitStruct.Enable = MPU_REGION_ENABLE;

	  //D2 Domain�SRAM1
	  MPU_InitStruct.BaseAddress = 0x30000000;
	  // Increased region size to 256k. In Keshikan's code, this was 512 bytes (that's all that application needed).
	  // Each audio buffer takes up the frame size * 8 (16 bits makes it *2 and stereo makes it *2 and double buffering makes it *2)
	  // So a buffer size for read/write of 4096 would take up 64k = 4096*8 * 2 (read and write).
	  // I increased that to 256k so that there would be room for the ADC knob inputs and other peripherals that might require DMA access.
	  // we have a total of 256k in SRAM1 (128k, 0x30000000-0x30020000) and SRAM2 (128k, 0x30020000-0x3004000) of D2 domain.
	  // There is an SRAM3 in D2 domain as well (32k, 0x30040000-0x3004800) that is currently not mapped by the MPU (memory protection unit) controller.

	  MPU_InitStruct.Size = MPU_REGION_SIZE_256KB;

	  MPU_InitStruct.AccessPermission = MPU_REGION_FULL_ACCESS;

	  //AN4838
	  MPU_InitStruct.TypeExtField = MPU_TEX_LEVEL1;
	  MPU_InitStruct.IsCacheable = MPU_ACCESS_NOT_CACHEABLE;
	  MPU_InitStruct.IsBufferable = MPU_ACCESS_NOT_BUFFERABLE;
	  MPU_InitStruct.IsShareable = MPU_ACCESS_NOT_SHAREABLE;

	  //Shared Device
//	  MPU_InitStruct.TypeExtField = MPU_TEX_LEVEL0;
//	  MPU_InitStruct.IsCacheable = MPU_ACCESS_NOT_CACHEABLE;
//	  MPU_InitStruct.IsBufferable = MPU_ACCESS_BUFFERABLE;
//	  MPU_InitStruct.IsShareable = MPU_ACCESS_SHAREABLE;

	  MPU_InitStruct.Number = MPU_REGION_NUMBER0;

	  MPU_InitStruct.SubRegionDisable = 0x00;

	  MPU_InitStruct.DisableExec = MPU_INSTRUCTION_ACCESS_DISABLE;

	  HAL_MPU_ConfigRegion(&MPU_InitStruct);

	  //now set up D3 domain RAM

	  MPU_InitStruct.Enable = MPU_REGION_ENABLE;

	  //D3 Domain�SRAM
	  MPU_InitStruct.BaseAddress = 0x38000000;

	  MPU_InitStruct.Size = MPU_REGION_SIZE_64KB;

	  MPU_InitStruct.AccessPermission = MPU_REGION_FULL_ACCESS;

	  //AN4838
	  MPU_InitStruct.TypeExtField = MPU_TEX_LEVEL1;
	  MPU_InitStruct.IsCacheable = MPU_ACCESS_CACHEABLE;
	  MPU_InitStruct.IsBufferable = MPU_ACCESS_BUFFERABLE;
	  MPU_InitStruct.IsShareable = MPU_ACCESS_SHAREABLE;

	  //Shared Device
 //	  MPU_InitStruct.TypeExtField = MPU_TEX_LEVEL0;
 //	  MPU_InitStruct.IsCacheable = MPU_ACCESS_NOT_CACHEABLE;
 //	  MPU_InitStruct.IsBufferable = MPU_ACCESS_BUFFERABLE;
 //	  MPU_InitStruct.IsShareable = MPU_ACCESS_SHAREABLE;

	  MPU_InitStruct.Number = MPU_REGION_NUMBER1;

	  MPU_InitStruct.SubRegionDisable = 0x00;

	  MPU_InitStruct.DisableExec = MPU_INSTRUCTION_ACCESS_ENABLE;

	  HAL_MPU_ConfigRegion(&MPU_InitStruct);

	  HAL_MPU_Enable(MPU_PRIVILEGED_DEFAULT);
}

float Dsmoothed;
float Dsmoothed2;
float dbSmoothed2;

int armed[NUM_STRINGS] = {0,0,0,0,0,0,0,0,0,0};
float prevdbSmoothed2[NUM_STRINGS];
int threshOut = 0;
int stringMaxes[NUM_STRINGS] = {0,0,0,0,0,0,0,0,0,0};
int downCounter[NUM_STRINGS];
int armedCounter[NUM_STRINGS];
float slopeStorage[NUM_STRINGS];
int attackDetectPeak2 (int whichString, int tempInt)
{
	float output = -1;
	float tempSamp = (((float)tempInt - TWO_TO_15) * INV_TWO_TO_15);
	for (int k = 0; k < FILTER_ORDER; k++)
	{
		// a highpass filter, remove any slow moving signal (effectively centers the signal around zero and gets rid of the signal that isn't high frequency vibration) cutoff of 100Hz, // applied 8 times to get rid of a lot of low frequency bumbling around
		tempSamp = tHighpass_tick(&opticalHighpass[whichString][k], tempSamp);
		tempSamp = tVZFilter_tick(&opticalLowpass[whichString][k], tempSamp * 1.0f);
	}

	float tempAbs = fabsf(tempSamp);

	Dsmoothed = tSlide_tick(&fastSlide[whichString], tempAbs);
	Dsmoothed2 = tSlide_tick(&slowSlide[whichString], Dsmoothed);
	Dsmoothed2 = LEAF_clip(0.0f, Dsmoothed2, 1.0f);
	//dbSmoothed2 = atodb(Dsmoothed2);
	dbSmoothed2 = LEAF_clip(-80.0f, atodbTable[(uint32_t)(Dsmoothed2 * ATODB_TABLE_SIZE_MINUS_ONE)], 12.0f);
	//dbSmoothed2 = LEAF_clip(-50.f, dbSmoothed2, 12.0f);
	//get the slope
	float slope = (dbSmoothed2 - prevdbSmoothed2[whichString]);
	slopeStorage[whichString] = slope;
	float integerVersion = Dsmoothed2 * (TWO_TO_16 - 1);
	threshOut = tThreshold_tick(&threshold[whichString], integerVersion);
	if ((slope > 0.1f) && (threshOut > 0))
	{
		armed[whichString] = 1;
	}

	if (armed[whichString] == 1)
	{
		if (integerVersion > stringMaxes[whichString])
		{
			stringMaxes[whichString] = integerVersion;
		}
		armedCounter[whichString]++;

		if (slope <= 0.0f)
		{
			downCounter[whichString]++;
		}
		if (downCounter[whichString] > 128)
		{
			//found a peak?
			output = stringMaxes[whichString];
			output = LEAF_clip(0.0f, output, 65535.0f);
			armed[whichString] = 0;
			armedCounter[whichString] = 0;
			downCounter[whichString] = 0;
			stringMaxes[whichString] = 0;
		}
	}

	prevdbSmoothed2[whichString] = dbSmoothed2;
	return (int)output;
}

uint16_t stringPositions[NUM_ADC_CHANNELS];
uint16_t stringTouchRH[NUM_ADC_CHANNELS];
int didPlucked[NUM_ADC_CHANNELS];
int stringSounding[NUM_ADC_CHANNELS];

int howManyFrames = 48000;
int brokedIt = 0;
int didPlucked2[10];
int pluckDelay[10];
int pluckValues[10];
void ADC_Frame(int offset)
{
	//HAL_GPIO_TogglePin(GPIOG, GPIO_PIN_11);
	HAL_GPIO_WritePin(GPIOA, GPIO_PIN_9, GPIO_PIN_SET);
	int changeHappened = 0;
	//sampRecords[currentSamp] = frameCount;
	//currentSamp++;

	for (int i = offset; i < ADC_FRAME_SIZE + offset; i++)
	{
		//for (int j = 0; j < NUM_ADC_CHANNELS; j++)
		if (howManyFrames > 0)
		{
			howManyFrames--;
		}
		for (int j = 0; j < 10; j++)
		{
			int tempInt = ADC_values[(i*NUM_ADC_CHANNELS) + j];

			if (j < 8)
			{
				stringTouchRH[j] = (SPI_RX[4] >> j) & 1;
			}
			else
			{
				stringTouchRH[j] = (SPI_RX[5] >> (j-8)) & 1;
			}
			didPlucked[j] = attackDetectPeak2(j, tempInt);
			/*
			if (didPlucked2[j] < 0)
			{
				didPlucked2[j] = 0;
			}
			//didPlucked2[j] = tPluckDetectorInt_tick(&myPluck[j], tempInt);
			if (didPlucked[j] < 0)
			{
				didPlucked[j] = 0;
			}
			*/
			/*
			else if (didPlucked[j] > 0)
			{
				pluckDelay[j] = 1;
				pluckValues[j] = didPlucked[j];
			}

			int doIt = 0;
*/
			if (howManyFrames == 0)
			{
				/*
				if (pluckDelay[j] > 128)
				{
					doIt = 1;
					pluckDelay[j] = 0;
				}
				if (pluckDelay[j] > 0)
				{
					pluckDelay[j]++;
				}
*/
				if ((didPlucked[j] > 0) && (!stringSounding[j]))
				{
					SPI_PLUCK_TX[(j * 2)] = (didPlucked[j] >> 8);
					SPI_PLUCK_TX[(j * 2) + 1] = (didPlucked[j] & 0xff);
					//a pluck happened! send a message over SPI to the other ICs
					//TODO: a pluck message
					//if (j == 1)
					//{

						//HAL_GPIO_WritePin(GPIOB, GPIO_PIN_4, GPIO_PIN_SET);
					//}
					//HAL_SPI_Transmit_DMA(&hspi1, SPI_PLUCK_TX, 20);
					/*
					SPI_PLUCK_TX[0] = j;
					SPI_PLUCK_TX[1] = (uint8_t) (didPlucked[j] >> 8); //low byte
					SPI_PLUCK_TX[2] = (uint8_t) (didPlucked[j] & 0xff); //low byte
					SPI_PLUCK_TX[3] = 0;
					*/
					changeHappened = 1;
					stringSounding[j] = 1;
					//HAL_SPI_Transmit_DMA(&hspi1, SPI_PLUCK_TX, 4);
				}

				if ((stringTouchRH[j]) && (stringSounding[j]))
				{
					//a note-off happened! send a message over SPI to the other ICs
					/*
					SPI_PLUCK_TX[0] = j;
					SPI_PLUCK_TX[1] = 0;
					SPI_PLUCK_TX[2] = 0;
					SPI_PLUCK_TX[3] = 0;
					*/
					SPI_PLUCK_TX[(j * 2)] = 0;
					SPI_PLUCK_TX[(j * 2) + 1] = 0;
					//if (j == 1)
					//{
						//HAL_GPIO_WritePin(GPIOB, GPIO_PIN_4, GPIO_PIN_RESET);

					//}
					//HAL_SPI_Transmit_DMA(&hspi1, SPI_PLUCK_TX, 20);
					changeHappened = 1;
					stringSounding[j] = 0;
				}

/*
				if (memoryPointer < ((LARGE_MEM_SIZE / 2) - 10))
				{
					largeMemory[memoryPointer++] = (uint16_t)tempInt;
					largeMemory[memoryPointer++] = (uint16_t)didPlucked[j];
					largeMemory[memoryPointer++] = (uint16_t)(myPluck[j]->ready_for_pluck);
					largeMemory[memoryPointer++] = (uint16_t)(myPluck[j]->midpoint_estimate);
					largeMemory[memoryPointer++] = (uint16_t)didPlucked2[j];
					largeMemory[memoryPointer++] = (uint16_t)armed[j];
					largeMemory[memoryPointer++] = (uint16_t)downCounter[j];
					largeMemory[memoryPointer++] = (uint16_t)((slopeStorage[j] * 4096.0f) + 2048.0f);
					largeMemory[memoryPointer++] = (uint16_t)stringTouchRH[j];
					largeMemory[memoryPointer++] = (uint16_t)stringSounding[j];
				}
				else
				{
					writeSD();

					while(1)
					{
						//HAL_GPIO_WritePin(GPIOB, GPIO_PIN_4, GPIO_PIN_SET);
					}
				}
*/
			}
			//itoa(SDWriteIndex, wtext, 4);
/*
			if (SDReady)
			{
				//writeToSD(SDWriteIndex, tempInt, j, stringSounding[j]);

				if (memoryPointer >= (LARGE_MEM_SIZE - 3000))
				{
					finishSD = 1;
					HAL_ADC_Stop(&hadc1);
					//HAL_SAI_DMAStop(&hsai_BlockA1);
					//HAL_SAI_DMAStop(&hsai_BlockB1);
				}
			}
*/
		}

	}
	HAL_GPIO_WritePin(GPIOA, GPIO_PIN_9, GPIO_PIN_RESET);
	if (changeHappened)
	{
		HAL_SPI_Transmit_DMA(&hspi1, SPI_PLUCK_TX, 20);
	}
}
void HAL_ADC_ConvCpltCallback(ADC_HandleTypeDef *hadc)
{

	ADC_Frame(ADC_FRAME_SIZE);

}
void HAL_ADC_ConvHalfCpltCallback(ADC_HandleTypeDef *hadc)
{
	ADC_Frame(0);
}
void HAL_ADC_Error(ADC_HandleTypeDef *hadc)
{

}

void HAL_SPI_RxCpltCallback(SPI_HandleTypeDef *hspi)
{
	//HAL_GPIO_WritePin(GPIOB, GPIO_PIN_4, GPIO_PIN_RESET);
}

/* USER CODE END 4 */

void Error_Handler(void)
{
}

/************************ (C) COPYRIGHT STMicroelectronics *****END OF FILE****/
